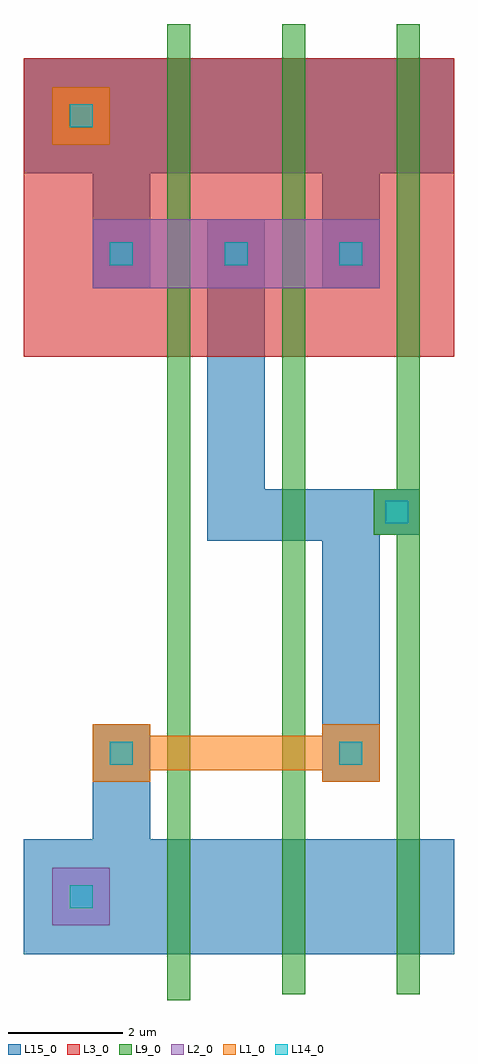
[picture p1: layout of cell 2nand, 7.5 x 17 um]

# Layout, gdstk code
import gdstk
lib = gdstk.Library(unit=1e-6, precision=1e-09)
def R(c, l, rs):  # rectangles x0, y0, x1, y1
    for r in rs: c.add(gdstk.rectangle(r[:2], r[2:], *l))
def A(c, l, x, y, w, h, nx, ny, dx, dy):  # array of equal rectangles
    R(c, l, [(x+i*dx, y+j*dy, x+i*dx+w, y+j*dy+h) for i in range(nx) for j in range(ny)])
def P(c, l, *ps):  # polygons
    for p in ps: c.add(gdstk.Polygon(p, *l))
L1_0 = (1, 0)
L2_0 = (2, 0)
L3_0 = (3, 0)
L9_0 = (9, 0)
L14_0 = (14, 0)
L15_0 = (15, 0)

c_2nand = lib.new_cell('2nand')
R(c_2nand, L1_0, [(4.4,4.9,5.4,5.9)])
P(c_2nand, L1_0, [(5.1,-5.2),(5.1,-6.2),(6.1,-6.2),(6.1,-6),(9.1,-6),(9.1,-6.2),(10.1,-6.2),(10.1,-5.2),(9.1,-5.2),(9.1,-5.4),(6.1,-5.4),(6.1,-5.2)])
R(c_2nand, L2_0, [(4.4,-8.7,5.4,-7.7), (5.1,2.4,10.1,3.6)])
R(c_2nand, L3_0, [(3.9,1.2,11.4,6.4)])
R(c_2nand, L9_0, [(6.4,-10,6.8,7), (8.4,-9.9,8.8,7)])
P(c_2nand, L9_0, [(10.8,-9.9),(10.8,7),(10.4,7),(10.4,-1.1),(10,-1.1),(10,-1.9),(10.4,-1.9),(10.4,-9.9)])
A(c_2nand, L14_0, 5.4, 2.8, 0.4, 0.4, 3, 1, 2, 0)
R(c_2nand, L14_0, [(4.7,-8.4,5.1,-8), (5.4,-5.9,5.8,-5.5), (9.4,-5.9,9.8,-5.5), (10.2,-1.7,10.6,-1.3), (4.7,5.2,5.1,5.6)])
P(c_2nand, L15_0, [(6.1,-7.2),(6.1,-5.2),(5.1,-5.2),(5.1,-7.2),(3.9,-7.2),(3.9,-9.2),(11.4,-9.2),(11.4,-7.2)],
  [(10.1,4.4),(11.4,4.4),(11.4,6.4),(3.9,6.4),(3.9,4.4),(5.1,4.4),(5.1,2.4),(6.1,2.4),(6.1,4.4),(9.1,4.4),(9.1,2.4),(10.1,2.4)],
  [(10.8,-1.1),(8.1,-1.1),(8.1,3.6),(7.1,3.6),(7.1,-2),(9.1,-2),(9.1,-6.2),(10.1,-6.2),(10.1,-1.9),(10.8,-1.9)])

lib.write_gds('2nand.gds')
